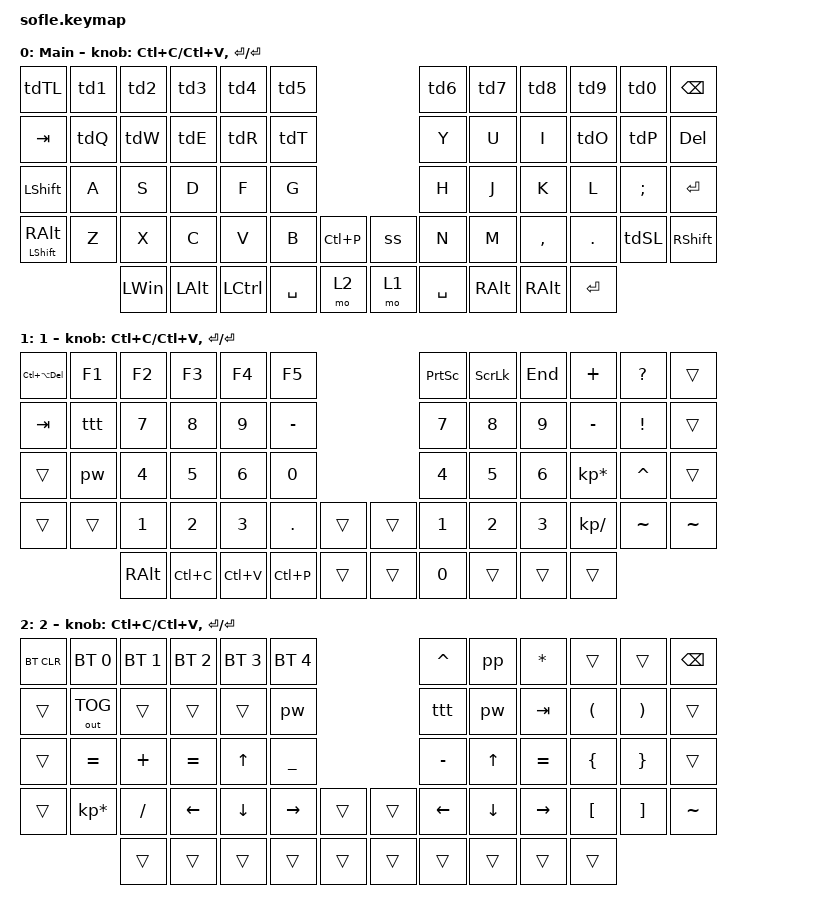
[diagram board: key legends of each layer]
/*
 * Copyright (c) 2020 The ZMK Contributors
 *
 * SPDX-License-Identifier: MIT
 */

#include <behaviors.dtsi>
#include <dt-bindings/zmk/bt.h>
#include <dt-bindings/zmk/keys.h>
#include <dt-bindings/zmk/outputs.h>
#include <behaviors.dtsi>
#include <dt-bindings/zmk/keys.h>

#define BASE 0
#define LOWER 1
#define RAISE 2
#define ADJUST 3

/ {
    // Activate ADJUST layer by pressing raise and lower

    conditional_layers { compatible = "zmk,conditional-layers"; };


    behaviors {
        tdQ: tap_dance_Q {
            compatible = "zmk,behavior-tap-dance";
            #binding-cells = <0>;
            tapping-term-ms = <180>;
            bindings = <&kp Q>, <&kp LS(Q)>;
        };
        tdW: tap_dance_W {
            compatible = "zmk,behavior-tap-dance";
            #binding-cells = <0>;
            tapping-term-ms = <180>;
            bindings = <&kp W>, <&kp LS(W)>;
        };
        tdE: tap_dance_E {
            compatible = "zmk,behavior-tap-dance";
            #binding-cells = <0>;
            tapping-term-ms = <180>;
            bindings = <&kp E>, <&kp LS(E)>;
        };
        tdR: tap_dance_R {
            compatible = "zmk,behavior-tap-dance";
            #binding-cells = <0>;
            tapping-term-ms = <180>;
            bindings = <&kp R>, <&kp LS(R)>;
        };
        tdT: tap_dance_T {
            compatible = "zmk,behavior-tap-dance";
            #binding-cells = <0>;
            tapping-term-ms = <180>;
            bindings = <&kp T>, <&kp LS(T)>;
        };
        tdO: tap_dance_O {
            compatible = "zmk,behavior-tap-dance";
            #binding-cells = <0>;
            tapping-term-ms = <180>;
            bindings = <&kp O>, <&kp LS(O)>;
        };
        tdP: tap_dance_P {
            compatible = "zmk,behavior-tap-dance";
            #binding-cells = <0>;
            tapping-term-ms = <180>;
            bindings = <&kp P>, <&kp LS(P)>;
        };
        tdSL: tap_dance_SL {
            compatible = "zmk,behavior-tap-dance";
            #binding-cells = <0>;
            tapping-term-ms = <180>;
            bindings = <&kp FSLH>, <&kp LS(FSLH)>;
        };
        td1: tap_dance_1 {
            compatible = "zmk,behavior-tap-dance";
            #binding-cells = <0>;
            tapping-term-ms = <180>;
            bindings = <&kp N1>, <&kp LS(N1)>;
        };
        td2: tap_dance_2 {
            compatible = "zmk,behavior-tap-dance";
            #binding-cells = <0>;
            tapping-term-ms = <180>;
            bindings = <&kp N2>, <&kp LS(N2)>;
        };
        td3: tap_dance_3 {
            compatible = "zmk,behavior-tap-dance";
            #binding-cells = <0>;
            tapping-term-ms = <180>;
            bindings = <&kp N3>, <&kp LS(N3)>;
        };
        td4: tap_dance_4 {
            compatible = "zmk,behavior-tap-dance";
            #binding-cells = <0>;
            tapping-term-ms = <180>;
            bindings = <&kp N4>, <&kp LS(N4)>;
        };
        td5: tap_dance_5 {
            compatible = "zmk,behavior-tap-dance";
            #binding-cells = <0>;
            tapping-term-ms = <180>;
            bindings = <&kp N5>, <&kp LS(N5)>;
        };
        td6: tap_dance_6 {
            compatible = "zmk,behavior-tap-dance";
            #binding-cells = <0>;
            tapping-term-ms = <180>;
            bindings = <&kp N6>, <&kp LS(N6)>;
        };
        td7: tap_dance_7 {
            compatible = "zmk,behavior-tap-dance";
            #binding-cells = <0>;
            tapping-term-ms = <180>;
            bindings = <&kp N7>, <&kp LS(N7)>;
        };
        td8: tap_dance_8 {
            compatible = "zmk,behavior-tap-dance";
            #binding-cells = <0>;
            tapping-term-ms = <180>;
            bindings = <&kp N8>, <&kp LS(N8)>;
        };
        td9: tap_dance_9 {
            compatible = "zmk,behavior-tap-dance";
            #binding-cells = <0>;
            tapping-term-ms = <180>;
            bindings = <&kp N9>, <&kp LS(N9)>;
        };
        td0: tap_dance_0 {
            compatible = "zmk,behavior-tap-dance";
            #binding-cells = <0>;
            tapping-term-ms = <180>;
            bindings = <&kp N0>, <&kp LS(N0)>;
        };
        tdTL: tap_dance_gl {
            compatible = "zmk,behavior-tap-dance";
            #binding-cells = <0>;
            tapping-term-ms = <180>;
            bindings = <&kp ESCAPE>, <&kp TILDE>;
        };
    };

    combos {
        compatible = "zmk,combos";

        combo3 {
            bindings = <&to 1>;
            key-positions = <50 51>;
        };

        layer_2 {
            bindings = <&to 2>;
            key-positions = <52 50>;
        };

        layer_3 {
            bindings = <&none>;
            key-positions = <50 53>;
        };

        default {
            bindings = <&to 0>;
            key-positions = <53 54 52>;
        };

        layer_0 {
            bindings = <&to 0>;
            key-positions = <55 56 57>;
        };
    };

    macros {
        symbol201502: symbol201502 {
            compatible = "zmk,behavior-macro";
            #binding-cells = <0>;
            bindings =
                <&kp N2 &kp N0 &kp N1 &kp N5 &kp N0 &kp N2>,
                <&macro_wait_time 30>;

            label = "SYMBOL201502";
        };

        pw: pw {
            compatible = "zmk,behavior-macro";
            #binding-cells = <0>;
            bindings =
                <&kp N3 &kp N0 &kp N1 &kp N5 &kp C &kp J &kp S &kp T &kp K &kp STAR>,
                <&macro_wait_time 30>;

            label = "pw";
        };

        ttt: ttt {
            compatible = "zmk,behavior-macro";
            #binding-cells = <0>;
            bindings =
                <&kp LS(T) &kp LS(T) &kp LS(T) &kp N3 &kp N3 &kp N5 &kp N6 &kp N4>,
                <&macro_wait_time 30>;

            label = "TTT";
        };

        ss: ss {
            compatible = "zmk,behavior-macro";
            #binding-cells = <0>;
            bindings = <&kp SCROLLLOCK &kp SCROLLLOCK>, <&macro_wait_time 30>;

            label = "SS";
        };

        pp: pp {
            compatible = "zmk,behavior-macro";
            #binding-cells = <0>;
            bindings =
                <&kp N3 &kp N0 &kp N1 &kp N5 &kp C &kp J &kp S &kp T &kp K>,
                <&macro_wait_time 30>;

            label = "PP";
        };
    };

    keymap {
        compatible = "zmk,keymap";

        Main_layer {
            display-name = "Main";

            // ------------------------------------------------------------------------------------------------------------
            // |   `   |  1  |  2  |  3   |  4   |  5   |                   |  6   |  7    |  8    |  9   |   0   |       |
            // |  ESC  |  Q  |  W  |  E   |  R   |  T   |                   |  Y   |  U    |  I    |  O   |   P   | BKSPC |
            // |  TAB  |  A  |  S  |  D   |  F   |  G   |                   |  H   |  J    |  K    |  L   |   ;   |   '   |
            // | SHIFT |  Z  |  X  |  C   |  V   |  B   |  MUTE  |  |       |  N   |  M    |  ,    |  .   |   /   | SHIFT |
            //               | GUI | ALT  | CTRL | LOWER|  ENTER |  | SPACE | RAISE| CTRL  | ALT   | GUI  |

            bindings = <
&tdTL                &td1    &td2          &td3          &td4       &td5                           &td6       &td7      &td8           &td9       &td0      &kp BACKSPACE
&kp TAB              &tdQ    &tdW          &tdE          &tdR       &tdT                           &kp Y      &kp U     &kp I          &tdO       &tdP      &kp DEL
&kp LEFT_SHIFT       &kp A   &kp S         &kp D         &kp F      &kp G                          &kp H      &kp J     &kp K          &kp L      &kp SEMI  &kp ENTER
&mt LEFT_SHIFT RALT  &kp Z   &kp X         &kp C         &kp V      &kp B      &kp LC(P)    &ss    &kp N      &kp M     &kp COMMA      &kp DOT    &tdSL     &kp RSHFT
                             &kp LEFT_WIN  &kp LEFT_ALT  &kp LCTRL  &kp SPACE  &mo 2        &mo 1  &kp SPACE  &kp RALT  &kp RIGHT_ALT  &kp ENTER
            >;

            sensor-bindings =
                <&inc_dec_kp LC(C) LC(V)>,
                <&inc_dec_kp ENTER ENTER>;
        };

        layer_1 {
            display-name = "1";

            // TODO: Some binds are waiting for shifted keycode support.
            // ------------------------------------------------------------------------------------------------------------
            // |       |  F1 |  F2 |  F3  |  F4  |  F5  |                   |  F6  |  F7   |  F8   |  F9  |  F10  |  F11  |
            // |   `   |  1  |  2  |  3   |  4   |  5   |                   |  6   |  7    |  8    |  9   |   0   |  F12  |
            // |       |  !  |  @  |  #   |  $   |  %   |                   |  ^   |  &    |  *    |  (   |   )   |   |   |
            // |       |  =  |  -  |  +   |  {   |  }   |        |  |       |  [   |  ]    |  ;    |  :   |   \   |       |
            //               |     |      |      |      |        |  |       |      |       |       |      |

            bindings = <
&kp LC(LA(DELETE))  &kp F1  &kp F2         &kp F3        &kp F4        &kp F5                          &kp PRINTSCREEN  &kp SCROLLLOCK  &kp END       &kp PLUS         &kp QUESTION     &trans
&kp TAB             &ttt    &kp N7         &kp NUMBER_8  &kp NUMBER_9  &kp MINUS                       &kp NUMBER_7     &kp NUMBER_8    &kp NUMBER_9  &kp MINUS        &kp EXCLAMATION  &trans
&trans              &pw     &kp NUMBER_4   &kp N5        &kp NUMBER_6  &kp NUMBER_0                    &kp NUMBER_4     &kp NUMBER_5    &kp NUMBER_6  &kp KP_MULTIPLY  &kp CARET        &trans
&trans              &trans  &kp NUMBER_1   &kp NUMBER_2  &kp NUMBER_3  &kp PERIOD    &trans    &trans  &kp NUMBER_1     &kp NUMBER_2    &kp NUMBER_3  &kp KP_DIVIDE    &kp TILDE        &kp TILDE
                            &kp RIGHT_ALT  &kp LC(C)     &kp LC(V)     &kp LC(P)     &trans    &trans  &kp NUMBER_0     &trans          &trans        &trans
            >;

            sensor-bindings =
                <&inc_dec_kp LC(C) LC(V)>,
                <&inc_dec_kp ENTER ENTER>;
        };

        layer_2 {
            display-name = "2";

            // ------------------------------------------------------------------------------------------------------------
            // | BTCLR | BT1  | BT2  |  BT3  |  BT4  |  BT5 |                |      |      |       |      |       |       |
            // |       | INS  | PSCR | GUI   |       |      |                | PGUP |      |   ^   |      |       |       |
            // |       | ALT  | CTRL | SHIFT |       | CAPS |                | PGDN |   <- |   v   |  ->  |  DEL  | BKSPC |
            // |       | UNDO | CUT  | COPY  | PASTE |      |      |  |      |      |      |       |      |       |       |
            //                |      |       |       |      |      |  |      |      |      |       |      |

            bindings = <
&bt BT_CLR  &bt BT_SEL 0     &bt BT_SEL 1  &bt BT_SEL 2    &bt BT_SEL 3    &bt BT_SEL 4                       &kp CARET       &pp             &kp STAR         &trans                &trans                 &kp BACKSPACE
&trans      &out OUT_TOG     &trans        &trans          &trans          &pw                                &ttt            &pw             &kp TAB          &kp LEFT_PARENTHESIS  &kp RIGHT_PARENTHESIS  &trans
&trans      &kp EQUAL        &kp PLUS      &kp EQUAL       &kp UP_ARROW    &kp UNDER                          &kp MINUS       &kp UP_ARROW    &kp EQUAL        &kp LEFT_BRACE        &kp RIGHT_BRACE        &trans
&trans      &kp KP_MULTIPLY  &kp SLASH     &kp LEFT_ARROW  &kp DOWN_ARROW  &kp RIGHT_ARROW  &trans    &trans  &kp LEFT_ARROW  &kp DOWN_ARROW  &kp RIGHT_ARROW  &kp LEFT_BRACKET      &kp RIGHT_BRACKET      &kp TILDE
                             &trans        &trans          &trans          &trans           &trans    &trans  &trans          &trans          &trans           &trans
            >;

            sensor-bindings =
                <&inc_dec_kp LC(C) LC(V)>,
                <&inc_dec_kp ENTER ENTER>;
        };
    };
};
